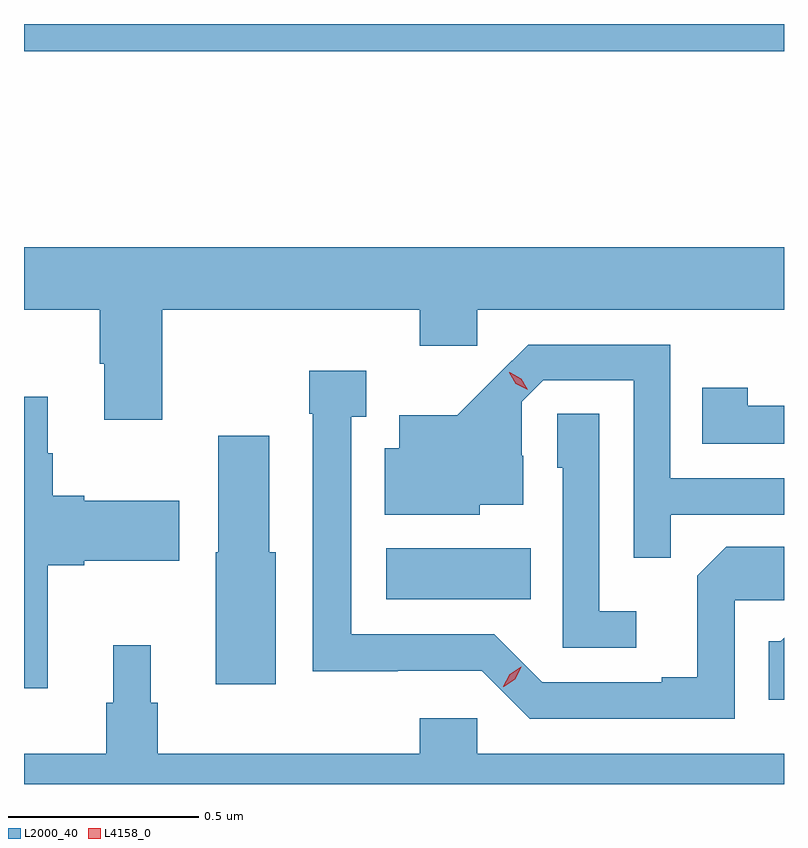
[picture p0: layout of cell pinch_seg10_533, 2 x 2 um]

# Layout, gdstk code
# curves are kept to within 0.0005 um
import gdstk
lib = gdstk.Library(unit=1e-6, precision=1e-09)
def R(c, l, rs):  # rectangles x0, y0, x1, y1
    for r in rs: c.add(gdstk.rectangle(r[:2], r[2:], *l))
def P(c, l, *ps):  # polygons
    for p in ps: c.add(gdstk.Polygon(p, *l))
L2000_40 = (2000, 40)
L4158_0 = (4158, 0)

pinch_seg10_533 = lib.new_cell('pinch_seg10_533')
R(pinch_seg10_533, L2000_40, [(262.806,1302.218,263.186,1302.352), (261.853,1303.66,263.853,1303.732)])
P(pinch_seg10_533, L2000_40, [(262.217,1302.98),(262.895,1302.98),(262.895,1302.885),(263.046,1302.885),(263.046,1302.98),(263.853,1302.98),(263.853,1303.144),(261.853,1303.144),(261.853,1302.98),(262.052,1302.98),(262.052,1302.838),(262.064,1302.838),(262.064,1302.69),(262.217,1302.69)],
  [(263.555,1302.441),(263.853,1302.441),(263.853,1302.537),(263.553,1302.537),(263.553,1302.888),(263.18,1302.888),(262.993,1302.703),(262.841,1302.703),(262.841,1302.616),(262.802,1302.616),(262.802,1302.44),(263.052,1302.44),(263.052,1302.467),(263.167,1302.467),(263.167,1302.596),(263.163,1302.596),(263.163,1302.738),(263.22,1302.795),(263.457,1302.795),(263.457,1302.328),(263.555,1302.328)],
  [(263.724,1302.216),(263.853,1302.216),(263.853,1302.356),(263.701,1302.356),(263.625,1302.28),(263.625,1302.013),(263.531,1302.013),(263.531,1302),(263.217,1302),(263.091,1302.126),(262.714,1302.126),(262.714,1302.699),(262.753,1302.699),(262.753,1302.82),(262.603,1302.82),(262.603,1302.707),(262.613,1302.707),(262.613,1302.029),(262.836,1302.029),(262.836,1302.03),(263.058,1302.03),(263.184,1301.904),(263.724,1301.904)],
  [(263.853,1302.728),(263.757,1302.728),(263.757,1302.775),(263.638,1302.775),(263.638,1302.627),(263.853,1302.627)],
  [(261.916,1302.308),(262.012,1302.308),(262.012,1302.32),(262.261,1302.32),(262.261,1302.478),(262.012,1302.478),(262.012,1302.491),(261.928,1302.491),(261.928,1302.602),(261.916,1302.602),(261.916,1302.751),(261.853,1302.751),(261.853,1301.984),(261.916,1301.984)],
  [(263.464,1302.187),(263.367,1302.187),(263.367,1302.707),(263.256,1302.707),(263.256,1302.564),(263.271,1302.564),(263.271,1302.09),(263.464,1302.09)],
  [(262.516,1302.342),(262.498,1302.342),(262.498,1302.649),(262.364,1302.649),(262.364,1302.342),(262.358,1302.342),(262.358,1301.994),(262.516,1301.994)],
  [(263.853,1302.117),(263.844,1302.108),(263.813,1302.108),(263.813,1301.954),(263.853,1301.954)],
  [(263.853,1301.812),(263.046,1301.812),(263.046,1301.905),(262.895,1301.905),(262.895,1301.812),(262.205,1301.812),(262.205,1301.946),(262.186,1301.946),(262.186,1302.097),(262.088,1302.097),(262.088,1301.946),(262.069,1301.946),(262.069,1301.812),(261.853,1301.812),(261.853,1301.732),(263.853,1301.732)])
P(pinch_seg10_533, L4158_0, [(263.178,1302.769),(263.147,1302.785),(263.13,1302.814),(263.13,1302.815),(263.131,1302.815),(263.161,1302.799),(263.178,1302.77),(263.178,1302.769)],
  [(263.114,1301.988),(263.114,1301.989),(263.131,1302.021),(263.162,1302.041),(263.162,1302.041),(263.162,1302.04),(263.146,1302.008),(263.115,1301.988)])

lib.write_gds('pinch_seg10_533.gds')
